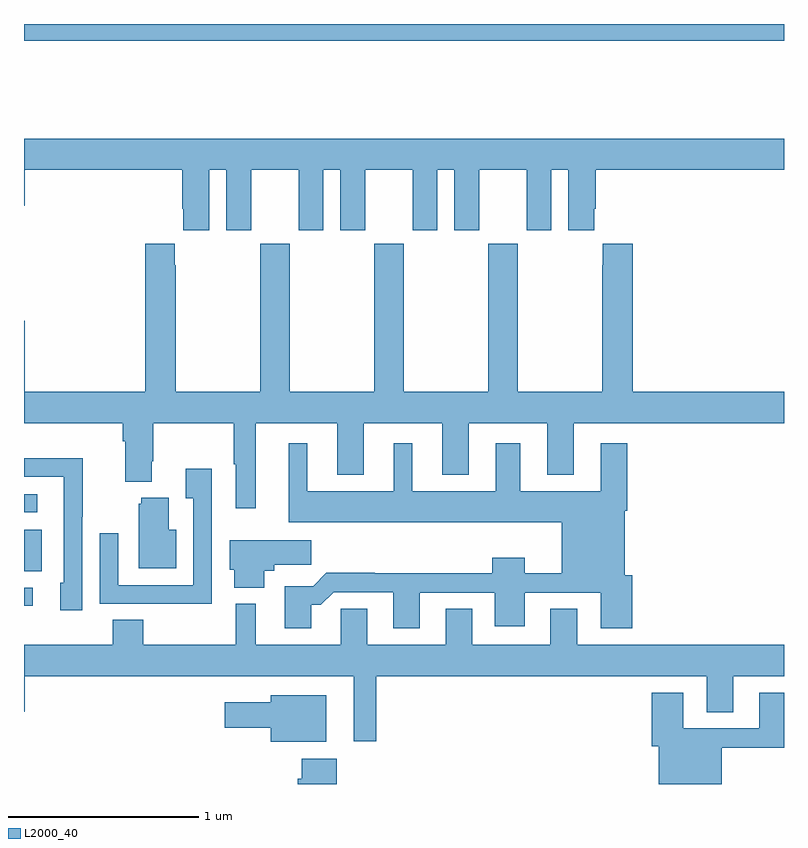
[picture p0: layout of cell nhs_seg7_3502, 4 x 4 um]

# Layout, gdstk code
import gdstk
lib = gdstk.Library(unit=1e-6, precision=1e-09)
def R(c, l, rs):  # rectangles x0, y0, x1, y1
    for r in rs: c.add(gdstk.rectangle(r[:2], r[2:], *l))
def P(c, l, *ps):  # polygons
    for p in ps: c.add(gdstk.Polygon(p, *l))
L2000_40 = (2000, 40)

nhs_seg7_3502 = lib.new_cell('nhs_seg7_3502')
R(nhs_seg7_3502, L2000_40, [(333,1048.937,333.046,1049.034), (333,1049.119,333.094,1049.338), (333,1049.43,333.07,1049.526), (333,1051.912,337,1052)])
P(nhs_seg7_3502, L2000_40, [(333,1051.044),(333.004,1051.044),(333.004,1051.232),(333.833,1051.232),(333.833,1051.027),(333.839,1051.027),(333.839,1050.915),(333.976,1050.915),(333.976,1051.232),(334.064,1051.232),(334.064,1050.915),(334.195,1050.915),(334.195,1051.232),(334.445,1051.232),(334.445,1050.915),(334.576,1050.915),(334.576,1051.232),(334.664,1051.232),(334.664,1050.915),(334.795,1050.915),(334.795,1051.232),(335.045,1051.232),(335.045,1050.915),(335.176,1050.915),(335.176,1051.232),(335.264,1051.232),(335.264,1050.915),(335.395,1050.915),(335.395,1051.232),(335.645,1051.232),(335.645,1050.915),(335.776,1050.915),(335.776,1051.232),(335.864,1051.232),(335.864,1050.915),(336.001,1050.915),(336.001,1051.027),(336.008,1051.027),(336.008,1051.232),(337,1051.232),(337,1051.396),(333,1051.396)],
  [(335.753,1049.627),(335.893,1049.627),(335.893,1049.9),(337,1049.9),(337,1050.064),(336.203,1050.064),(336.203,1050.844),(336.047,1050.844),(336.047,1050.731),(336.043,1050.731),(336.043,1050.064),(335.598,1050.064),(335.598,1050.844),(335.443,1050.844),(335.443,1050.064),(334.998,1050.064),(334.998,1050.844),(334.843,1050.844),(334.843,1050.064),(334.398,1050.064),(334.398,1050.844),(334.243,1050.844),(334.243,1050.064),(333.798,1050.064),(333.798,1050.731),(333.793,1050.731),(333.793,1050.844),(333.638,1050.844),(333.638,1050.064),(333.004,1050.064),(333.004,1050.439),(333,1050.439),(333,1049.9),(333.521,1049.9),(333.521,1049.804),(333.533,1049.804),(333.533,1049.591),(333.673,1049.591),(333.673,1049.698),(333.681,1049.698),(333.681,1049.9),(334.105,1049.9),(334.105,1049.684),(334.115,1049.684),(334.115,1049.451),(334.219,1049.451),(334.219,1049.9),(334.649,1049.9),(334.649,1049.627),(334.789,1049.627),(334.789,1049.9),(335.201,1049.9),(335.201,1049.627),(335.341,1049.627),(335.341,1049.9),(335.753,1049.9)],
  [(334.513,1048.943),(334.562,1048.943),(334.629,1049.01),(334.943,1049.01),(334.943,1048.821),(335.083,1048.821),(335.083,1049.007),(335.477,1049.007),(335.477,1048.829),(335.635,1048.829),(335.635,1049.007),(336.035,1049.007),(336.035,1048.821),(336.2,1048.821),(336.2,1049.1),(336.163,1049.1),(336.163,1049.438),(336.176,1049.438),(336.176,1049.794),(336.035,1049.794),(336.035,1049.542),(335.611,1049.542),(335.611,1049.794),(335.483,1049.794),(335.483,1049.542),(335.044,1049.542),(335.044,1049.794),(334.946,1049.794),(334.946,1049.542),(334.492,1049.542),(334.492,1049.794),(334.394,1049.794),(334.394,1049.378),(335.831,1049.378),(335.831,1049.108),(335.635,1049.108),(335.635,1049.191),(335.465,1049.191),(335.465,1049.108),(334.847,1049.108),(334.847,1049.111),(334.592,1049.111),(334.522,1049.041),(334.373,1049.041),(334.373,1048.821),(334.513,1048.821)],
  [(333.306,1049.407),(333.309,1049.407),(333.309,1049.714),(333,1049.714),(333,1049.616),(333.21,1049.616),(333.21,1049.058),(333.191,1049.058),(333.191,1048.914),(333.306,1048.914)],
  [(333.987,1049.659),(333.851,1049.659),(333.851,1049.503),(333.891,1049.503),(333.891,1049.046),(333.495,1049.046),(333.495,1049.32),(333.399,1049.32),(333.399,1048.95),(333.715,1048.95),(333.715,1048.949),(333.987,1048.949)],
  [(333.802,1049.338),(333.763,1049.338),(333.763,1049.506),(333.617,1049.506),(333.617,1049.475),(333.605,1049.475),(333.605,1049.135),(333.802,1049.135)],
  [(334.264,1049.123),(334.318,1049.123),(334.318,1049.155),(334.513,1049.155),(334.513,1049.284),(334.082,1049.284),(334.082,1049.127),(334.106,1049.127),(334.106,1049.033),(334.264,1049.033)],
  [(335.911,1048.922),(335.771,1048.922),(335.771,1048.732),(335.359,1048.732),(335.359,1048.922),(335.219,1048.922),(335.219,1048.732),(334.807,1048.732),(334.807,1048.922),(334.668,1048.922),(334.668,1048.732),(334.219,1048.732),(334.219,1048.948),(334.115,1048.948),(334.115,1048.732),(333.627,1048.732),(333.627,1048.865),(333.467,1048.865),(333.467,1048.732),(333,1048.732),(333,1048.38),(333.004,1048.38),(333.004,1048.568),(334.736,1048.568),(334.736,1048.224),(334.853,1048.224),(334.853,1048.568),(336.593,1048.568),(336.593,1048.378),(336.733,1048.378),(336.733,1048.568),(337,1048.568),(337,1048.732),(335.911,1048.732)],
  [(336.673,1048.192),(337,1048.192),(337,1048.48),(336.869,1048.48),(336.869,1048.293),(336.469,1048.293),(336.469,1048.48),(336.305,1048.48),(336.305,1048.2),(336.341,1048.2),(336.341,1048),(336.673,1048)],
  [(334.591,1048.468),(334.298,1048.468),(334.298,1048.429),(334.056,1048.429),(334.056,1048.295),(334.298,1048.295),(334.298,1048.223),(334.591,1048.223)],
  [(334.645,1048.132),(334.461,1048.132),(334.461,1048.028),(334.441,1048.028),(334.441,1048),(334.645,1048)])

lib.write_gds('nhs_seg7_3502.gds')
